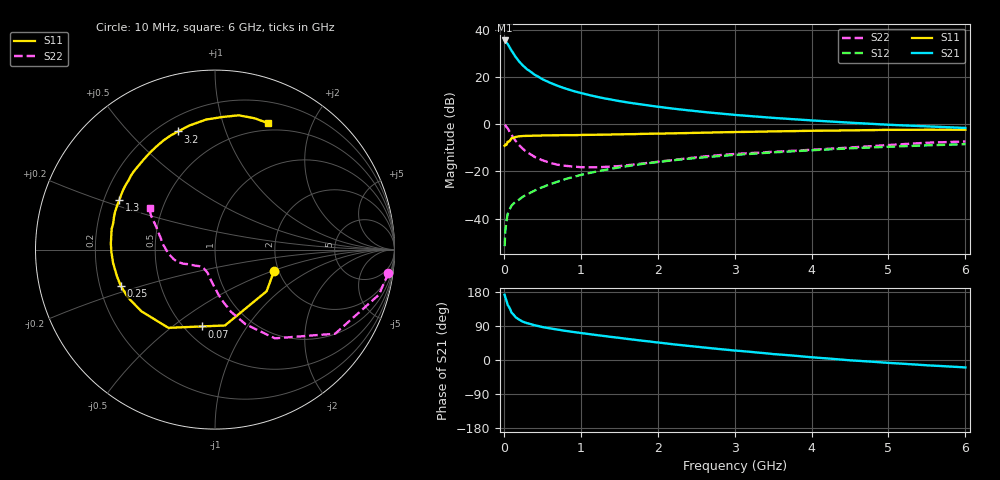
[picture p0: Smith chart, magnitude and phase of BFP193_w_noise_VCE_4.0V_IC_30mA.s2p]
! Infineon Technologies  Discrete & RF Semiconductors
! BFP193
! VCE =  4.0 V,  IC =  30 mA
! Common Emitter S-Parameters:  Jan 2017
# GHz  S  MA  R  50
!  f  S11  S21  S12  S22
! GHz  MAG  ANG  MAG  ANG  MAG  ANG  MAG  ANG
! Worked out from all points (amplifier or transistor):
!   77 points, 10 MHz to 6 GHz, reference 50 ohm
!   highest |S21| = 35.5 dB at 10 MHz (marker M1)
!   |S21| within 3 dB of that: start of sweep to 76.46 MHz
!   unconditionally stable (mu >= 1): 696 MHz to 2.494 GHz
!   at 130 MHz: K = 0.49, MSG = 31.6 dB, |S12| = -33.5 dB
!   at 2.2 GHz: K = 1.01, MAG = 10.2 dB, |S12| = -15.3 dB
!   at 6 GHz: K = 0.92, MSG = 3.4 dB, |S12| = -8.5 dB
!   lowest NFmin = 1.22 dB at 450 MHz
!   S11 on the Smith chart (normalised r, x): 10 MHz: 1.88, -0.52; 70 MHz: 0.61, -0.64; 250 MHz: 0.29, -0.17; 1.3 GHz: 0.26, +0.23; 3.2 GHz: 0.28, +0.70; 6 GHz: 0.42, +1.42
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0.01  0.3499 -20.2  59.6 172.1  0.0026 84.2  0.9752 -7.6
0.02  0.3695 -38.9  58.75 164.8  0.0056 83.7  0.9472 -15.4
0.05  0.4263 -82.5  50.16 145.4  0.0125 65.8  0.8172 -35.0
0.07  0.4337 -99.4  44.03 138.8  0.015 61.6  0.7181 -41.8
0.1  0.5074 -120.8  36.38 125.0  0.0188 57.5  0.5963 -56.0
0.15  0.5356 -140.2  27.05 113.5  0.0226 54.5  0.4486 -67.8
0.2  0.5538 -151.4  21.27 106.3  0.0254 54.9  0.3583 -75.5
0.25  0.5625 -159.1  17.41 100.9  0.0293 55.9  0.2975 -80.7
0.3  0.566 -164.6  14.69 97.3  0.0321 57.1  0.2555 -85.2
0.4  0.5728 -172.6  11.22 91.5  0.0391 61.1  0.2031 -91.8
0.5  0.5772 -178.5  9.027 87.1  0.0461 61.8  0.1724 -97.5
0.6  0.5813 176.7  7.575 83.4  0.0535 63.2  0.1522 -102.6
0.7  0.5828 172.7  6.507 80.2  0.0607 64.1  0.1384 -106.7
0.9  0.5858 165.4  5.076 74.1  0.0761 63.8  0.1268 -115.0
1.1  0.5955 158.9  4.186 68.7  0.0914 63.6  0.1224 -121.9
1.3  0.6 152.7  3.555 63.4  0.1063 61.9  0.1242 -128.6
2.1  0.6352 130.7  2.242 44.0  0.1647 53.4  0.1669 -150.2
3.1  0.6859 109.1  1.533 23.4  0.229 41.2  0.2389 -168.1
3.2  0.6897 107.3  1.488 21.6  0.2347 40.0  0.2439 -169.9
4.1  0.7281 92.5  1.177 5.7  0.2856 29.7  0.2935 173.0
5.1  0.7598 78.7  0.958 -8.8  0.3372 18.3  0.3703 156.0
6  0.7638 67.3  0.833 -19.6  0.3778 8.3  0.4306 147.7
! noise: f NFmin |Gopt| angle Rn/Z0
0.45  1.22  0.33  -174  0.08
0.9  1.27  0.38  -173  0.07
1.9  1.89  0.57  -137  0.17
2.4  2.22  0.62  -121  0.38
